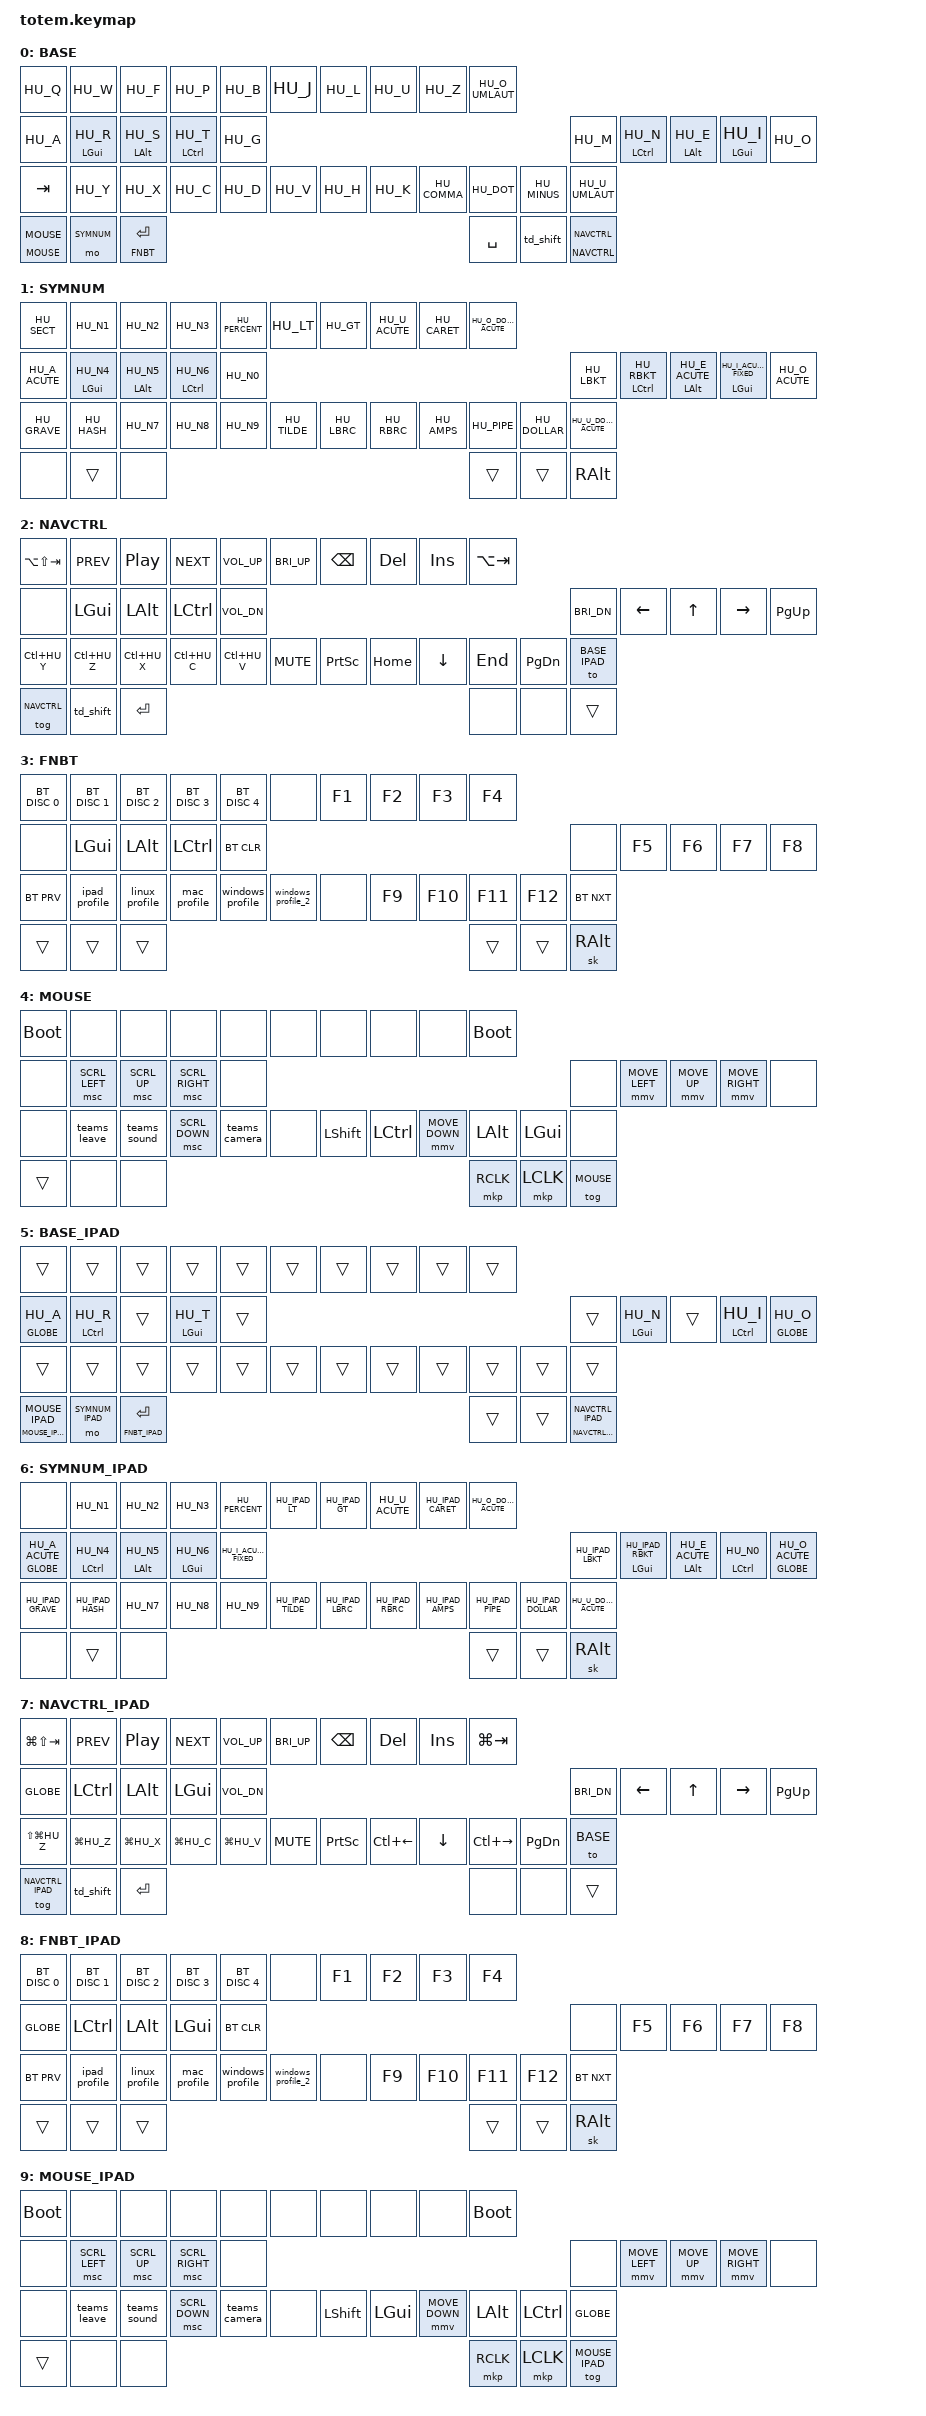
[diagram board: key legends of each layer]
#include <behaviors.dtsi>
#include <dt-bindings/zmk/keys.h>
#include <dt-bindings/zmk/bt.h>
#include <dt-bindings/zmk/outputs.h>
#include <dt-bindings/zmk/behaviors.h>
#include <dt-bindings/zmk/pointing.h>
#include <locale/keys_hu.h>

#include <dt-bindings/zmk/hid_usage.h>
#include <dt-bindings/zmk/hid_usage_pages.h>
#include <dt-bindings/zmk/modifiers.h>

#define BASE 0
#define SYMNUM 1
#define NAVCTRL  2
#define FNBT 3
#define MOUSE 4
#define BASE_IPAD 5
#define SYMNUM_IPAD 6
#define NAVCTRL_IPAD 7
#define FNBT_IPAD 8
#define MOUSE_IPAD 9

#define HU_LDQT (RA(HU_O))
#define HU_RDQT (RA(HU_P))
#define HU_EMDASH (RA(HU_Z))

#define HU_IPAD_PIPE (RA(HU_I_ACUTE))
#define HU_IPAD_CARET (RA(HU_A_ACUTE))
#define HU_IPAD_TILDE (RA(HU_U_ACUTE))
#define HU_IPAD_GRAVE (RA(HU_U_DOUBLE_ACUTE))
#define HU_IPAD_BACKSLASH (RA(HU_U_UMLAUT))
#define HU_IPAD_LDQT (RA(HU_V))
#define HU_IPAD_DOLLAR (RA(HU_N4))
#define HU_IPAD_HASH (RA(LS(HU_N3)))
#define HU_IPAD_AMPS (RA(HU_N1))
#define HU_IPAD_AT (RA(HU_Q))
#define HU_IPAD_LBRC (RA(HU_N7))
#define HU_IPAD_RBRC (RA(HU_O_UMLAUT))
#define HU_IPAD_LT (RA(LS(HU_Y)))
#define HU_IPAD_GT (RA(LS(HU_X)))
#define HU_IPAD_ASTERISK (RA(LS(HU_COMMA)))
#define HU_IPAD_RDQT (RA(HU_B))
#define HU_IPAD_EMDASH (RA(HU_MINUS))
#define HU_IPAD_SEMI (RA(HU_DOT))
#define HU_IPAD_LBKT (RA(HU_N8))
#define HU_IPAD_RBKT (RA(HU_N9))
#define HU_IPAD_PIPE (RA(HU_I_ACUTE))
#define HU_I_ACUTE_FIXED (ZMK_HID_USAGE(HID_USAGE_KEY, HID_USAGE_KEY_KEYBOARD_NON_US_BACKSLASH_AND_PIPE))

#define KEYS_L 0 1 2 3 4 10 11 12 13 14 20 21 22 23 24 25 // Left-hand keys.
#define KEYS_R 5 6 7 8 9 15 16 17 18 19 20 26 27 28 29 30 31 // Right-hand keys.
#define THUMBS 32 33 34 35 36 37 // Thumb keys.

/ {
	behaviors {
		hml: home_row_mod_left {
			compatible = "zmk,behavior-hold-tap";
			#binding-cells = <2>;
			flavor = "balanced";
			require-prior-idle-ms = <150>;
			tapping-term-ms = <280>;
			quick-tap-ms = <175>;
			bindings = <&kp>, <&kp>;
			hold-trigger-key-positions = <KEYS_R THUMBS>;
			hold-trigger-on-release;
		};
		hmr: home_row_mod_right {
			compatible = "zmk,behavior-hold-tap";
			#binding-cells = <2>;
			flavor = "balanced";
			require-prior-idle-ms = <150>;
			tapping-term-ms = <280>;
			quick-tap-ms = <175>;
			bindings = <&kp>, <&kp>;
			hold-trigger-key-positions = <KEYS_L THUMBS>;
			hold-trigger-on-release;
		};
        mo_tog: behavior_mo_tog {
            compatible = "zmk,behavior-hold-tap";
            #binding-cells = <2>;
            flavor = "hold-preferred";
            tapping-term-ms = <200>;
            bindings = <&mo>, <&tog>;
        };
        td_shift: tap_dance_0 {
            compatible = "zmk,behavior-tap-dance";
            #binding-cells = <0>;
            tapping-term-ms = <200>;
            bindings = <&kp LSHIFT>, <&caps_word>, <&kp CAPSLOCK>;
        };
	};
	
	combos {
		compatible = "zmk,combos";
		// Bspc, Del, Esc
		combo_esc {
			timeout-ms = <50>;
			layers = <BASE BASE_IPAD>;
			key-positions = <21 22>;
			bindings = <&kp ESC>;
		};
		combo_backspace {
			timeout-ms = <50>;
			layers = <BASE BASE_IPAD>;
			key-positions = <16 17>;
			bindings = <&kp BACKSPACE>;
		};
		combo_delete {
			timeout-ms = <50>;
			layers = <BASE BASE_IPAD>;
			key-positions = <17 18>;
			bindings = <&kp DEL>;
		};
		
        // Symbols
		combo_plus {
			timeout-ms = <50>;
			layers = <BASE BASE_IPAD>;
			key-positions = <2 3>;
			bindings = <&kp HU_PLUS>;
		};
		combo_equal {
			timeout-ms = <50>;
			layers = <BASE BASE_IPAD>;
			key-positions = <6 7>;
			bindings = <&kp HU_EQUAL>;
		};

		combo_single_quote {
			timeout-ms = <50>;
			layers = <BASE BASE_IPAD>;
			key-positions = <11 12>;
			bindings = <&kp HU_SQT>;
		};
		combo_double_quote {
			timeout-ms = <50>;
			layers = <BASE BASE_IPAD>;
			key-positions = <12 13>;
			bindings = <&kp HU_DQT>;
		};
		combo_backslash {
			timeout-ms = <50>;
			layers = <BASE>;
			key-positions = <13 14>;
			bindings = <&kp HU_BACKSLASH>;
		};
		combo_backslash_ipad {
			timeout-ms = <50>;
			layers = <BASE_IPAD>;
			key-positions = <13 14>;
			bindings = <&kp HU_IPAD_BACKSLASH>;
		};

		combo_u_umlaut {
			timeout-ms = <50>;
			layers = <BASE BASE_IPAD>;
			key-positions = <18 19>;
			bindings = <&kp HU_U_UMLAUT>;
		};
		combo_u_double_acute {
			timeout-ms = <50>;
			layers = <SYMNUM SYMNUM_IPAD>;
			key-positions = <18 19>;
			bindings = <&kp HU_U_DOUBLE_ACUTE>;
		};

		combo_slash {
			timeout-ms = <50>;
			layers = <BASE BASE_IPAD>;
			key-positions = <15 16>;
			bindings = <&kp HU_SLASH>;
		};

		combo_left_parenthesis {
			timeout-ms = <50>;
			layers = <BASE BASE_IPAD>;
			key-positions = <22 23>;
			bindings = <&kp HU_LPAR>;
		};
		combo_right_parenthesis {
			timeout-ms = <50>;
			layers = <BASE BASE_IPAD>;
			key-positions = <23 24>;
			bindings = <&kp HU_RPAR>;
		};
		combo_at {
			timeout-ms = <50>;
			layers = <BASE>;
			key-positions = <24 25>;
			bindings = <&kp HU_AT>;
		};
		combo_at_ipad {
			timeout-ms = <50>;
			layers = <BASE_IPAD>;
			key-positions = <24 25>;
			bindings = <&kp HU_IPAD_AT>;
		};

        combo_emdash {
			timeout-ms = <50>;
			layers = <BASE>;
			key-positions = <26 27>;
			bindings = <&kp HU_EMDASH>;
		};
		combo_emdash_ipad {
			timeout-ms = <50>;
			layers = <BASE_IPAD>;
			key-positions = <26 27>;
			bindings = <&kp HU_IPAD_EMDASH>;
		};
		combo_exclamation {
			timeout-ms = <50>;
			layers = <BASE BASE_IPAD>;
			key-positions = <27 28>;
			bindings = <&kp HU_EXCL>;
		};
		combo_semicolon {
			timeout-ms = <50>;
			layers = <BASE>;
			key-positions = <28 29>;
			bindings = <&kp HU_SEMI>;
		};
        combo_semicolon_ipad {
			timeout-ms = <50>;
			layers = <BASE_IPAD>;
			key-positions = <28 29>;
			bindings = <&kp HU_IPAD_SEMI>;
		};
		combo_asterisk {
			timeout-ms = <50>;
			layers = <BASE>;
			key-positions = <29 30>;
			bindings = <&kp HU_ASTERISK>;
		};
		combo_asterisk_ipad {
			timeout-ms = <50>;
			layers = <BASE_IPAD>;
			key-positions = <29 30>;
			bindings = <&kp HU_IPAD_ASTERISK>;
		};
		
		// Word start and end
		combo_word_start {
			timeout-ms = <50>;
			layers = <NAVCTRL>;
			key-positions = <27 28>;
			bindings = <&kp LC(LEFT)>;
		};
		combo_word_end {
			timeout-ms = <50>;
			layers = <NAVCTRL>;
			key-positions = <28 29>;
			bindings = <&kp LC(RIGHT)>;
		};
		combo_word_start_ipad {
			timeout-ms = <50>;
			layers = <NAVCTRL_IPAD>;
			key-positions = <27 28>;
			bindings = <&kp LA(LEFT)>;
		};
		combo_word_end_ipad {
			timeout-ms = <50>;
			layers = <NAVCTRL_IPAD>;
			key-positions = <28 29>;
			bindings = <&kp LA(RIGHT)>;
		};
    	};

    	macros {
		teams_leave: teams_leave {
		    label = "teams_leave";
		    compatible = "zmk,behavior-macro";
		    #binding-cells = <0>;
		    bindings
		        = <&macro_tap &kp LG(HU_N5)>
		        , <&macro_tap &kp LC(LS(HU_H))>
		        ;
		};
		teams_sound: teams_sound {
		    label = "teams_sound";
		    compatible = "zmk,behavior-macro";
		    #binding-cells = <0>;
		    bindings
		        = <&macro_tap &kp LG(HU_N5)>
		        , <&macro_tap &kp LC(LS(HU_M))>
		        ;
		};
		teams_camera: teams_camera {
		    label = "teams_camera";
		    compatible = "zmk,behavior-macro";
		    #binding-cells = <0>;
		    bindings
		        = <&macro_tap &kp LG(HU_N5)>
		        , <&macro_tap &kp LC(LS(HU_O))>
		        ;
		};
        ipad_profile: ipad_profile {
		    label = "ipad_profile";
		    compatible = "zmk,behavior-macro";
		    #binding-cells = <0>;
		    bindings
		        = <&bt BT_SEL 0>
                , <&to BASE_IPAD>
		        ;
		};
        linux_profile: linux_profile {
		    label = "linux_profile";
		    compatible = "zmk,behavior-macro";
		    #binding-cells = <0>;
		    bindings
		        = <&bt BT_SEL 1>
                , <&to BASE>
		        ;
		};
        mac_profile: mac_profile {
		    label = "mac_profile";
		    compatible = "zmk,behavior-macro";
		    #binding-cells = <0>;
		    bindings
		        = <&bt BT_SEL 2>
                , <&to BASE_IPAD>
		        ;
		};
        windows_profile: windows_profile {
		    label = "windows_profile";
		    compatible = "zmk,behavior-macro";
		    #binding-cells = <0>;
		    bindings
		        = <&bt BT_SEL 3>
                , <&to BASE>
		        ;
		};
        windows_profile_2: windows_profile_2 {
		    label = "windows_profile_2";
		    compatible = "zmk,behavior-macro";
		    #binding-cells = <0>;
		    bindings
		        = <&bt BT_SEL 4>
                , <&to BASE>
		        ;
		};
	};

	keymap {
		compatible = "zmk,keymap";
		
		base_layer {
			label= "BASE";
			bindings = <
			&kp HU_Q &kp HU_W &kp HU_F &kp HU_P &kp HU_B &kp HU_J &kp HU_L &kp HU_U &kp HU_Z &kp HU_O_UMLAUT
			&kp HU_A &hml LGUI HU_R &hml LALT HU_S &hml LCTRL HU_T &kp HU_G &kp HU_M &hmr LCTRL HU_N &hmr LALT HU_E &hmr LGUI HU_I &kp HU_O
			&kp TAB &kp HU_Y &kp HU_X &kp HU_C &kp HU_D &kp HU_V &kp HU_H &kp HU_K &kp HU_COMMA &kp HU_DOT &kp HU_MINUS &kp HU_U_UMLAUT
			&mo_tog MOUSE MOUSE &mo SYMNUM &lt FNBT ENTER &kp SPACE &td_shift &mo_tog NAVCTRL NAVCTRL
		        >;
		};
                
        symnum_layer {
			label= "SYMNUM";
			bindings = <
			&kp HU_SECT &kp HU_N1 &kp HU_N2 &kp HU_N3 &kp HU_PERCENT &kp HU_LT &kp HU_GT &kp HU_U_ACUTE &kp HU_CARET &kp HU_O_DOUBLE_ACUTE
			&kp HU_A_ACUTE &hml LGUI HU_N4 &hml LALT HU_N5 &hml LCTRL HU_N6 &kp HU_N0 &kp HU_LBKT &hmr LCTRL HU_RBKT &hmr LALT HU_E_ACUTE &hmr LGUI HU_I_ACUTE_FIXED &kp HU_O_ACUTE
			&kp HU_GRAVE &kp HU_HASH &kp HU_N7 &kp HU_N8 &kp HU_N9 &kp HU_TILDE &kp HU_LBRC &kp HU_RBRC &kp HU_AMPS &kp HU_PIPE &kp HU_DOLLAR &kp HU_U_DOUBLE_ACUTE
			&none &trans &none &trans &trans &kp RALT
                        >;
                };
		
	    navctrl_layer {
			label= "NAVCTRL";
			bindings = <
			&kp LA(LS(TAB)) &kp C_PREV &kp C_PLAY_PAUSE &kp C_NEXT &kp C_VOL_UP &kp C_BRI_UP &kp BACKSPACE &kp DEL &kp INS &kp LA(TAB)
			&none &kp LGUI &kp LALT &kp LCTRL &kp C_VOL_DN &kp C_BRI_DN &kp LEFT &kp UP &kp RIGHT &kp PG_UP
			&kp LC(HU_Y) &kp LC(HU_Z) &kp LC(HU_X) &kp LC(HU_C) &kp LC(HU_V) &kp C_MUTE &kp PRINTSCREEN &kp HOME &kp DOWN &kp END &kp PG_DN &to BASE_IPAD
			&tog NAVCTRL &td_shift &kp ENTER &none &none &trans
                        >;
                };
                
        fnbt_layer {
			label= "FNBT";
			bindings = <
			&bt BT_DISC 0 &bt BT_DISC 1 &bt BT_DISC 2 &bt BT_DISC 3 &bt BT_DISC 4 &none &kp F1 &kp F2 &kp F3 &kp F4
			&none &kp LGUI &kp LALT &kp LCTRL &bt BT_CLR &none &kp F5 &kp F6 &kp F7 &kp F8
			&bt BT_PRV &ipad_profile &linux_profile &mac_profile &windows_profile &windows_profile_2 &none &kp F9 &kp F10 &kp F11 &kp F12 &bt BT_NXT
			&trans &trans &trans &trans &trans &sk RALT
                        >;
                };

        mouse_layer {
			label= "MOUSE";
			bindings = <
			&bootloader &none &none &none &none &none &none &none &none &bootloader
			&none &msc SCRL_LEFT &msc SCRL_UP &msc SCRL_RIGHT &none &none &mmv MOVE_LEFT &mmv MOVE_UP &mmv MOVE_RIGHT &none
			&none &teams_leave &teams_sound &msc SCRL_DOWN &teams_camera &none &kp LSHIFT &kp LCTRL &mmv MOVE_DOWN &kp LALT &kp LGUI &none
			&trans &none &none &mkp RCLK &mkp LCLK &tog MOUSE
                        >;
                };
		
		base_ipad_layer {
			label= "BASE_IPAD";
			bindings = <
			&trans &trans &trans &trans &trans &trans &trans &trans &trans &trans
			&hml GLOBE HU_A &hml LCTRL HU_R &trans &hml LGUI HU_T &trans &trans &hmr LGUI HU_N &trans &hmr LCTRL HU_I &hmr GLOBE HU_O
			&trans &trans &trans &trans &trans &trans &trans &trans &trans &trans &trans &trans
			&mo_tog MOUSE_IPAD MOUSE_IPAD &mo SYMNUM_IPAD &lt FNBT_IPAD ENTER &trans &trans &mo_tog NAVCTRL_IPAD NAVCTRL_IPAD
                        >;
                };
                
        symnum_ipad_layer {
			label= "SYMNUM_IPAD";
			bindings = <
			&none &kp HU_N1 &kp HU_N2 &kp HU_N3 &kp HU_PERCENT &kp HU_IPAD_LT &kp HU_IPAD_GT &kp HU_U_ACUTE &kp HU_IPAD_CARET &kp HU_O_DOUBLE_ACUTE
			&hml GLOBE HU_A_ACUTE &hml LCTRL HU_N4 &hml LALT HU_N5 &hml LGUI HU_N6 &kp HU_I_ACUTE_FIXED &kp HU_IPAD_LBKT &hmr LGUI HU_IPAD_RBKT &hmr LALT HU_E_ACUTE &hmr LCTRL HU_N0 &hmr GLOBE HU_O_ACUTE
			&kp HU_IPAD_GRAVE &kp HU_IPAD_HASH &kp HU_N7 &kp HU_N8 &kp HU_N9 &kp HU_IPAD_TILDE &kp HU_IPAD_LBRC &kp HU_IPAD_RBRC &kp HU_IPAD_AMPS &kp HU_IPAD_PIPE &kp HU_IPAD_DOLLAR &kp HU_U_DOUBLE_ACUTE
			&none &trans &none &trans &trans &sk RALT
                        >;
                };
                
        navctrl_ipad_layer {
			label= "NAVCTRL_IPAD";
			bindings = <
			&kp LG(LS(TAB)) &kp C_PREV &kp C_PLAY_PAUSE &kp C_NEXT &kp C_VOL_UP &kp C_BRI_UP &kp BACKSPACE &kp DEL &kp INS &kp LG(TAB)
			&kp GLOBE &kp LCTRL &kp LALT &kp LGUI &kp C_VOL_DN &kp C_BRI_DN &kp LEFT &kp UP &kp RIGHT &kp PG_UP
			&kp LS(LG(HU_Z)) &kp LG(HU_Z) &kp LG(HU_X) &kp LG(HU_C) &kp LG(HU_V) &kp C_MUTE &kp PRINTSCREEN &kp LC(LEFT) &kp DOWN &kp LC(RIGHT) &kp PG_DN &to BASE
			&tog NAVCTRL_IPAD &td_shift &kp ENTER &none &none &trans
                        >;
                };
                
        fnbt_ipad_layer {
			label= "FNBT_IPAD";
			bindings = <
			&bt BT_DISC 0 &bt BT_DISC 1 &bt BT_DISC 2 &bt BT_DISC 3 &bt BT_DISC 4 &none &kp F1 &kp F2 &kp F3 &kp F4
			&kp GLOBE &kp LCTRL &kp LALT &kp LGUI &bt BT_CLR &none &kp F5 &kp F6 &kp F7 &kp F8
			&bt BT_PRV &ipad_profile &linux_profile &mac_profile &windows_profile &windows_profile_2 &none &kp F9 &kp F10 &kp F11 &kp F12 &bt BT_NXT
			&trans &trans &trans &trans &trans &sk RALT
                        >;
                };
                
        mouse_ipad_layer {
			label= "MOUSE_IPAD";
			bindings = <
			&bootloader &none &none &none &none &none &none &none &none &bootloader
			&none &msc SCRL_LEFT &msc SCRL_UP &msc SCRL_RIGHT &none &none &mmv MOVE_LEFT &mmv MOVE_UP &mmv MOVE_RIGHT &none
			&none &teams_leave &teams_sound &msc SCRL_DOWN &teams_camera &none &kp LSHIFT &kp LGUI &mmv MOVE_DOWN &kp LALT &kp LCTRL &kp GLOBE
			&trans &none &none &mkp RCLK &mkp LCLK &tog MOUSE_IPAD
                        >;
                };
        };
};
